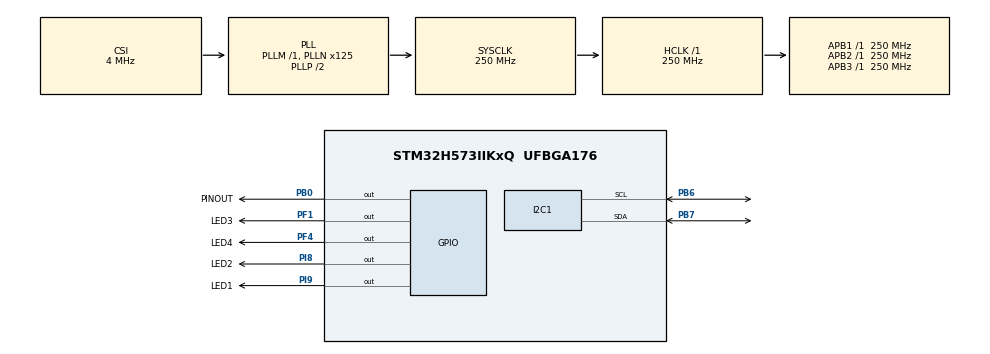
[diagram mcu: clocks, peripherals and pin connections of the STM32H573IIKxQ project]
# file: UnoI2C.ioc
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BOOTPATH.BootPathName=LEGACY
BOOTPATH.UserSelectedBootPath=LEGACY
CORTEX_M33_NS.userName=CORTEX_M33
I2C1.Timing=0x60808CD3
Mcu.Family=STM32H5
Mcu.Name=STM32H573IIKxQ
Mcu.Package=UFBGA176
NVIC.PriorityGroup=NVIC_PRIORITYGROUP_4
PB0.GPIO_Label=PINOUT
PB0.GPIO_Speed=GPIO_SPEED_FREQ_VERY_HIGH
PB0.Signal=GPIO_Output
PB6.GPIO_Pu=GPIO_PULLUP
PB6.GPIO_Speed=GPIO_SPEED_FREQ_VERY_HIGH
PB6.Mode=I2C
PB6.Signal=I2C1_SCL
PB7.GPIO_Pu=GPIO_PULLUP
PB7.GPIO_Speed=GPIO_SPEED_FREQ_VERY_HIGH
PB7.Mode=I2C
PB7.Signal=I2C1_SDA
PF1.GPIO_Label=LED3
PF1.GPIO_Speed=GPIO_SPEED_FREQ_VERY_HIGH
PF1.Signal=GPIO_Output
PF4.GPIO_Label=LED4
PF4.GPIO_Speed=GPIO_SPEED_FREQ_VERY_HIGH
PF4.Signal=GPIO_Output
PI8.GPIO_Label=LED2
PI8.GPIO_Speed=GPIO_SPEED_FREQ_LOW
PI8.Signal=GPIO_Output
PI9.GPIO_Label=LED1
PI9.GPIO_Speed=GPIO_SPEED_FREQ_VERY_HIGH
PI9.Signal=GPIO_Output
ProjectManager.HeapSize=0x200
ProjectManager.StackSize=0x400
ProjectManager.TargetToolchain=STM32CubeIDE
RCC.ADCFreq_Value=250000000
RCC.AHBFreq_Value=250000000
RCC.APB1Freq_Value=250000000
RCC.APB1TimFreq_Value=250000000
RCC.APB2Freq_Value=250000000
RCC.APB2TimFreq_Value=250000000
RCC.APB3Freq_Value=250000000
RCC.CSI_VALUE=4000000
RCC.CortexFreq_Value=250000000
RCC.EPOD_VALUE=4000000
RCC.HCLKFreq_Value=250000000
RCC.HSE_VALUE=25000000
RCC.HSI48_VALUE=48000000
RCC.HSI_VALUE=64000000
RCC.LSE_VALUE=32768
RCC.LSIRC_VALUE=32000
RCC.PLL2FRACN=0
RCC.PLL3FRACN=0
RCC.PLLFRACN=0
RCC.PLLN=125
RCC.SYSCLKFreq_VALUE=250000000
RCC.SYSCLKSource=RCC_SYSCLKSOURCE_PLLCLK
RCC.USBFreq_Value=48000000
RCC.VCOOutputFreq_Value=500000000
VP_BOOTPATH_VS_BOOTPATH.Mode=BP_Activate
VP_MEMORYMAP_VS_MEMORYMAP.Mode=CurAppReg
VP_PWR_VS_DBSignals.Mode=DisableDeadBatterySignals
VP_PWR_VS_LPOM.Mode=PowerOptimisation
VP_PWR_VS_SECSignals.Mode=Security/Privilege
board=custom

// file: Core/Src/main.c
/* USER CODE BEGIN Header */
/**
  ******************************************************************************
  * @file           : main.c
  * @brief          : Main program body
  ******************************************************************************
  * @attention
  *
  * Copyright (c) 2024 STMicroelectronics.
  * All rights reserved.
  *
  * This software is licensed under terms that can be found in the LICENSE file
  * in the root directory of this software component.
  * If no LICENSE file comes with this software, it is provided AS-IS.
  *
  ******************************************************************************
  */
/* USER CODE END Header */
#include "main.h"

/* USER CODE BEGIN Includes */
#include <string.h> //for memcpy
/* USER CODE END Includes */

/* USER CODE BEGIN PD */
#define ARDUINO_I2C_ADDRESS 0x02 // The I2C address of the Arduino
#define LOW GPIO_PIN_RESET
#define HIGH GPIO_PIN_SET
#define ON GPIO_PIN_RESET
#define OFF GPIO_PIN_SET
/* USER CODE END PD */

I2C_HandleTypeDef hi2c1;

/* USER CODE BEGIN PV */
uint8_t TX_Buffer [] = "A" ; // DATA to send
/* USER CODE END PV */

void SystemClock_Config(void);
static void MX_GPIO_Init(void);
static void MX_I2C1_Init(void);

/* USER CODE BEGIN 0 */

void HAL_I2C_MasterTxCpltCallback(I2C_HandleTypeDef *hi2c) {
  // Transmission Complete Callback
}

void HAL_I2C_MasterRxCpltCallback(I2C_HandleTypeDef *hi2c) {
  // Reception Complete Callback
}

void flashLEDs(float distance) {
//	HAL_GPIO_TogglePin(GPIOF, GPIO_PIN_4);
//	HAL_Delay((int)delay);
//	HAL_GPIO_TogglePin(GPIOF, GPIO_PIN_4);

	if (distance > 500) {
		HAL_GPIO_WritePin(GPIOI, LED1_Pin, LOW);
		HAL_GPIO_WritePin(GPIOI, LED2_Pin, HIGH);
		HAL_GPIO_WritePin(GPIOF, LED3_Pin|LED4_Pin, HIGH);
	} else if (distance > 100) {
		HAL_GPIO_WritePin(GPIOI, LED1_Pin|LED2_Pin, LOW);
		HAL_GPIO_WritePin(GPIOF, LED3_Pin|LED4_Pin, HIGH);
	} else if (distance > 50) {
		HAL_GPIO_WritePin(GPIOI, LED1_Pin|LED2_Pin, LOW);
		HAL_GPIO_WritePin(GPIOF, LED3_Pin, LOW);
		HAL_GPIO_WritePin(GPIOF, LED4_Pin, HIGH);
	} else {
		HAL_GPIO_WritePin(GPIOI, LED1_Pin|LED2_Pin, LOW);
		HAL_GPIO_WritePin(GPIOF, LED3_Pin|LED4_Pin, LOW);
	}
}

void allLEDsOFF(void) {
	HAL_GPIO_WritePin(GPIOI, LED1_Pin|LED2_Pin, OFF);
	HAL_GPIO_WritePin(GPIOF, LED3_Pin|LED4_Pin, OFF);
}

void allLEDsON(void) {
	HAL_GPIO_WritePin(GPIOI, LED1_Pin|LED2_Pin, ON);
	HAL_GPIO_WritePin(GPIOF, LED3_Pin|LED4_Pin, ON);
}

void startTiming(void) {
	HAL_GPIO_WritePin(PINOUT_GPIO_Port, PINOUT_Pin, HIGH);
}

void stopTiming(void) {
	HAL_GPIO_WritePin(PINOUT_GPIO_Port, PINOUT_Pin, LOW);
}

/* USER CODE END 0 */

int main(void)
{

  /* MCU Configuration--------------------------------------------------------*/

  /* Reset of all peripherals, Initializes the Flash interface and the Systick. */
  HAL_Init();

  /* Configure the system clock */
  SystemClock_Config();

  /* Initialize all configured peripherals */
  MX_GPIO_Init();
  MX_I2C1_Init();
  /* USER CODE BEGIN 2 */
//  int ret = HAL_I2C_Master_Transmit(&hi2c1,20,TX_Buffer,1,1000); //blocking mode
//    HAL_Delay(100);
  /* USER CODE END 2 */

	long sampleCount = 0;
	long sampleThreshold = 1000; //1k samples
	startTiming();
	while (1) {
		float distance; //written to via memcpy
		uint8_t distanceBytes[4]; //32 bits total, or 4 bytes
		// sent 1000 times --> 4000 bytes

		// Request 4 bytes of data from the slave device (Arduino Uno)
		if (HAL_I2C_Master_Receive(&hi2c1,
				(uint16_t) (ARDUINO_I2C_ADDRESS << 1), distanceBytes,
				sizeof(distanceBytes), HAL_MAX_DELAY) == HAL_OK) {
			// Convert received bytes back to float
			memcpy(&distance, distanceBytes, sizeof(distance));
			sampleCount++;
		} else {
			Error_Handler();
		}

		if (sampleCount > sampleThreshold) {
			stopTiming();
			break;
		}

		HAL_Delay(1); // Poll every 1 ms
	}
	/* USER CODE END 3 */
}

void SystemClock_Config(void)
{
  RCC_OscInitTypeDef RCC_OscInitStruct = {0};
  RCC_ClkInitTypeDef RCC_ClkInitStruct = {0};

  /** Configure the main internal regulator output voltage
  */
  __HAL_PWR_VOLTAGESCALING_CONFIG(PWR_REGULATOR_VOLTAGE_SCALE0);

  while(!__HAL_PWR_GET_FLAG(PWR_FLAG_VOSRDY)) {}

  /** Initializes the RCC Oscillators according to the specified parameters
  * in the RCC_OscInitTypeDef structure.
  */
  RCC_OscInitStruct.OscillatorType = RCC_OSCILLATORTYPE_CSI;
  RCC_OscInitStruct.CSIState = RCC_CSI_ON;
  RCC_OscInitStruct.CSICalibrationValue = RCC_CSICALIBRATION_DEFAULT;
  RCC_OscInitStruct.PLL.PLLState = RCC_PLL_ON;
  RCC_OscInitStruct.PLL.PLLSource = RCC_PLL1_SOURCE_CSI;
  RCC_OscInitStruct.PLL.PLLM = 1;
  RCC_OscInitStruct.PLL.PLLN = 125;
  RCC_OscInitStruct.PLL.PLLP = 2;
  RCC_OscInitStruct.PLL.PLLQ = 2;
  RCC_OscInitStruct.PLL.PLLR = 2;
  RCC_OscInitStruct.PLL.PLLRGE = RCC_PLL1_VCIRANGE_2;
  RCC_OscInitStruct.PLL.PLLVCOSEL = RCC_PLL1_VCORANGE_WIDE;
  RCC_OscInitStruct.PLL.PLLFRACN = 0;
  if (HAL_RCC_OscConfig(&RCC_OscInitStruct) != HAL_OK)
  {
    Error_Handler();
  }

  /** Initializes the CPU, AHB and APB buses clocks
  */
  RCC_ClkInitStruct.ClockType = RCC_CLOCKTYPE_HCLK|RCC_CLOCKTYPE_SYSCLK
                              |RCC_CLOCKTYPE_PCLK1|RCC_CLOCKTYPE_PCLK2
                              |RCC_CLOCKTYPE_PCLK3;
  RCC_ClkInitStruct.SYSCLKSource = RCC_SYSCLKSOURCE_PLLCLK;
  RCC_ClkInitStruct.AHBCLKDivider = RCC_SYSCLK_DIV1;
  RCC_ClkInitStruct.APB1CLKDivider = RCC_HCLK_DIV1;
  RCC_ClkInitStruct.APB2CLKDivider = RCC_HCLK_DIV1;
  RCC_ClkInitStruct.APB3CLKDivider = RCC_HCLK_DIV1;

  if (HAL_RCC_ClockConfig(&RCC_ClkInitStruct, FLASH_LATENCY_5) != HAL_OK)
  {
    Error_Handler();
  }
}

static void MX_I2C1_Init(void)
{

  hi2c1.Instance = I2C1;
  hi2c1.Init.Timing = 0x60808CD3;
  hi2c1.Init.OwnAddress1 = 0;
  hi2c1.Init.AddressingMode = I2C_ADDRESSINGMODE_7BIT;
  hi2c1.Init.DualAddressMode = I2C_DUALADDRESS_DISABLE;
  hi2c1.Init.OwnAddress2 = 0;
  hi2c1.Init.OwnAddress2Masks = I2C_OA2_NOMASK;
  hi2c1.Init.GeneralCallMode = I2C_GENERALCALL_DISABLE;
  hi2c1.Init.NoStretchMode = I2C_NOSTRETCH_DISABLE;
  if (HAL_I2C_Init(&hi2c1) != HAL_OK)
  {
    Error_Handler();
  }

  /** Configure Analogue filter
  */
  if (HAL_I2CEx_ConfigAnalogFilter(&hi2c1, I2C_ANALOGFILTER_ENABLE) != HAL_OK)
  {
    Error_Handler();
  }

  /** Configure Digital filter
  */
  if (HAL_I2CEx_ConfigDigitalFilter(&hi2c1, 0) != HAL_OK)
  {
    Error_Handler();
  }

}

static void MX_GPIO_Init(void)
{
  GPIO_InitTypeDef GPIO_InitStruct = {0};

  /* GPIO Ports Clock Enable */
  __HAL_RCC_GPIOB_CLK_ENABLE();
  __HAL_RCC_GPIOI_CLK_ENABLE();
  __HAL_RCC_GPIOF_CLK_ENABLE();

  /*Configure GPIO pin Output Level */
  HAL_GPIO_WritePin(GPIOI, LED1_Pin|LED2_Pin, HIGH);

  /*Configure GPIO pin Output Level */
  HAL_GPIO_WritePin(GPIOF, LED3_Pin|LED4_Pin, HIGH);

  /*Configure GPIO pin Output Level */
  HAL_GPIO_WritePin(PINOUT_GPIO_Port, PINOUT_Pin, LOW);

  /*Configure GPIO pin : LED1_Pin */
  GPIO_InitStruct.Pin = LED1_Pin;
  GPIO_InitStruct.Mode = GPIO_MODE_OUTPUT_PP;
  GPIO_InitStruct.Pull = GPIO_NOPULL;
  GPIO_InitStruct.Speed = GPIO_SPEED_FREQ_VERY_HIGH;
  HAL_GPIO_Init(LED1_GPIO_Port, &GPIO_InitStruct);

  /*Configure GPIO pin : LED2_Pin */
  GPIO_InitStruct.Pin = LED2_Pin;
  GPIO_InitStruct.Mode = GPIO_MODE_OUTPUT_PP;
  GPIO_InitStruct.Pull = GPIO_NOPULL;
  GPIO_InitStruct.Speed = GPIO_SPEED_FREQ_LOW;
  HAL_GPIO_Init(LED2_GPIO_Port, &GPIO_InitStruct);

  /*Configure GPIO pins : LED3_Pin LED4_Pin */
  GPIO_InitStruct.Pin = LED3_Pin|LED4_Pin;
  GPIO_InitStruct.Mode = GPIO_MODE_OUTPUT_PP;
  GPIO_InitStruct.Pull = GPIO_NOPULL;
  GPIO_InitStruct.Speed = GPIO_SPEED_FREQ_VERY_HIGH;
  HAL_GPIO_Init(GPIOF, &GPIO_InitStruct);

  /*Configure GPIO pin : PINOUT_Pin */
  GPIO_InitStruct.Pin = PINOUT_Pin;
  GPIO_InitStruct.Mode = GPIO_MODE_OUTPUT_PP;
  GPIO_InitStruct.Pull = GPIO_NOPULL;
  GPIO_InitStruct.Speed = GPIO_SPEED_FREQ_VERY_HIGH;
  HAL_GPIO_Init(PINOUT_GPIO_Port, &GPIO_InitStruct);

}

void Error_Handler(void)
{
  /* USER CODE BEGIN Error_Handler_Debug */
  /* User can add his own implementation to report the HAL error return state */
  __disable_irq();
  while (1)
  {
	  //blink RED LED
	  HAL_GPIO_WritePin(GPIOF, LED3_Pin, ON);
	  HAL_Delay(750);
	  HAL_GPIO_WritePin(GPIOF, LED3_Pin, OFF);
	  HAL_Delay(750);
  }
  /* USER CODE END Error_Handler_Debug */
}
